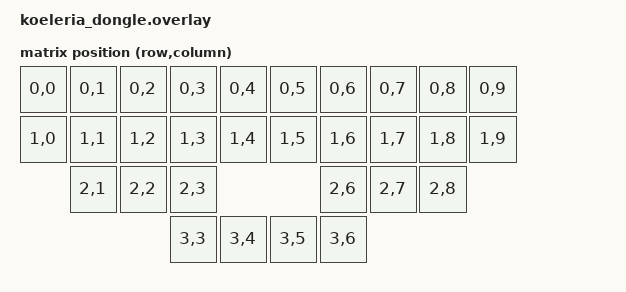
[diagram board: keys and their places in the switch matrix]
#include "koeleria.dtsi"
#include "koeleria-layouts.dtsi"
#include <dt-bindings/zmk/matrix_transform.h>

/ {
    chosen {
        zmk,kscan = &mock_kscan;
        zmk,physical-layout = &koeleria_physical_layout;
    };

    mock_kscan: mock_kscan {
        compatible = "zmk,kscan-mock";
        columns = <0>;
        rows = <0>;
        events = <0>;
    };
   default_transform: keymap_transform_1 {
        compatible = "zmk,matrix-transform";
        columns = <10>;
        rows = <4>;
// | SW4 | SW1  | SW2  | SW3  | SW8  |   | SW23 | SW18 | SW17 | SW16 | SW19 |
// | SW9 | SW5  | SW6  | SW7  | SW13 |   | SW28 | SW22 | SW21 | SW20 | SW24 |
//       | SW10 | SW11 | SW12 |                 | SW27 | SW26 | SW25 | 
//                     | SW14 | SW15 |   | SW30 | SW29 | 
        map = <
RC(0,0) RC(0,1) RC(0,2) RC(0,3) RC(0,4)  RC(0,5) RC(0,6) RC(0,7) RC(0,8) RC(0,9)
RC(1,0) RC(1,1) RC(1,2) RC(1,3) RC(1,4)  RC(1,5) RC(1,6) RC(1,7) RC(1,8) RC(1,9)
        RC(2,1) RC(2,2) RC(2,3)                  RC(2,6) RC(2,7) RC(2,8) 
                        RC(3,3) RC(3,4)  RC(3,5) RC(3,6) 
        >;
    };
};
